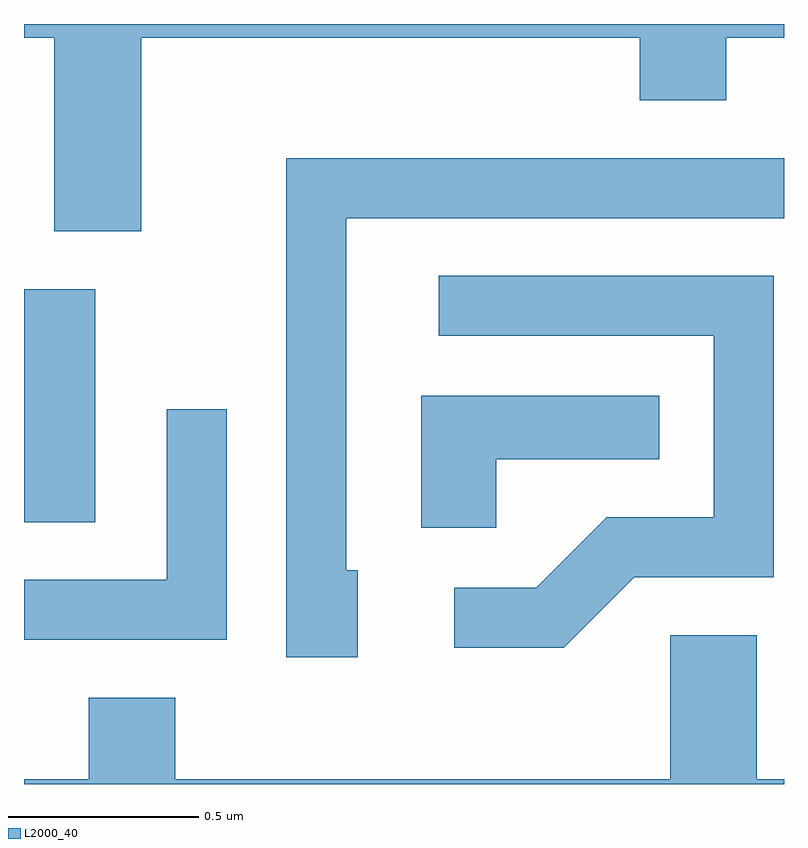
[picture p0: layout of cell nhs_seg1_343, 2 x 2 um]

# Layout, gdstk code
import gdstk
lib = gdstk.Library(unit=1e-6, precision=1e-09)
def R(c, l, rs):  # rectangles x0, y0, x1, y1
    for r in rs: c.add(gdstk.rectangle(r[:2], r[2:], *l))
def P(c, l, *ps):  # polygons
    for p in ps: c.add(gdstk.Polygon(p, *l))
L2000_40 = (2000, 40)

nhs_seg1_343 = lib.new_cell('nhs_seg1_343')
R(nhs_seg1_343, L2000_40, [(187.611,909.401,187.799,910.014)])
P(nhs_seg1_343, L2000_40, [(187.919,910.676),(189.231,910.676),(189.231,910.511),(189.459,910.511),(189.459,910.676),(189.611,910.676),(189.611,910.712),(187.611,910.712),(187.611,910.676),(187.691,910.676),(187.691,910.166),(187.919,910.166)],
  [(188.489,909.274),(188.459,909.274),(188.459,910.201),(189.611,910.201),(189.611,910.359),(188.301,910.359),(188.301,909.046),(188.489,909.046)],
  [(189.217,909.256),(189.584,909.256),(189.584,910.049),(188.703,910.049),(188.703,909.891),(189.426,909.891),(189.426,909.414),(189.144,909.414),(188.959,909.229),(188.743,909.229),(188.743,909.071),(189.032,909.071)],
  [(188.854,909.566),(189.283,909.566),(189.283,909.734),(188.656,909.734),(188.656,909.386),(188.854,909.386)],
  [(188.144,909.698),(187.986,909.698),(187.986,909.249),(187.611,909.249),(187.611,909.091),(188.144,909.091)],
  [(189.611,908.724),(189.539,908.724),(189.539,909.104),(189.311,909.104),(189.311,908.724),(188.009,908.724),(188.009,908.939),(187.781,908.939),(187.781,908.724),(187.611,908.724),(187.611,908.712),(189.611,908.712)])

lib.write_gds('nhs_seg1_343.gds')
